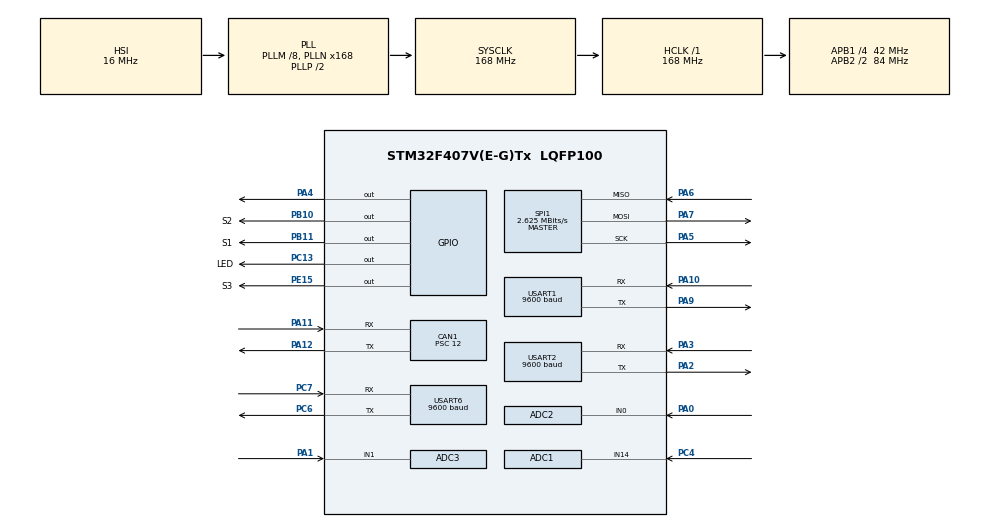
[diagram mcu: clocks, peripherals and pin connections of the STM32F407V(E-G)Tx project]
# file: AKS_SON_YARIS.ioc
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ADC1.Channel-0\#ChannelRegularConversion=ADC_CHANNEL_14
ADC1.ClockPrescaler=ADC_CLOCK_SYNC_PCLK_DIV4
ADC1.NbrOfConversionFlag=1
ADC1.Rank-0\#ChannelRegularConversion=1
ADC1.SamplingTime-0\#ChannelRegularConversion=ADC_SAMPLETIME_3CYCLES
ADC1.master=1
ADC2.Channel-0\#ChannelRegularConversion=ADC_CHANNEL_0
ADC2.ClockPrescaler=ADC_CLOCK_SYNC_PCLK_DIV4
ADC2.NbrOfConversionFlag=1
ADC2.Rank-0\#ChannelRegularConversion=1
ADC2.SamplingTime-0\#ChannelRegularConversion=ADC_SAMPLETIME_3CYCLES
ADC3.Channel-0\#ChannelRegularConversion=ADC_CHANNEL_1
ADC3.ClockPrescaler=ADC_CLOCK_SYNC_PCLK_DIV4
ADC3.NbrOfConversionFlag=1
ADC3.Rank-0\#ChannelRegularConversion=1
ADC3.SamplingTime-0\#ChannelRegularConversion=ADC_SAMPLETIME_3CYCLES
CAN1.BS1=CAN_BS1_3TQ
CAN1.BS2=CAN_BS2_3TQ
CAN1.CalculateBaudRate=500000
CAN1.CalculateTimeBit=2000
CAN1.CalculateTimeQuantum=285.7142857142857
CAN1.Prescaler=12
FATFS._MAX_SS=4096
FATFS._USE_LFN=1
Mcu.Family=STM32F4
Mcu.Name=STM32F407V(E-G)Tx
Mcu.Package=LQFP100
NVIC.CAN1_RX0_IRQn=true\:0\:0\:false\:false\:true\:true\:true\:true
NVIC.PriorityGroup=NVIC_PRIORITYGROUP_4
NVIC.USART6_IRQn=true\:0\:0\:false\:false\:true\:true\:true\:true
PA0-WKUP.Signal=ADCx_IN0
PA1.Signal=ADCx_IN1
PA10.Mode=Asynchronous
PA10.Signal=USART1_RX
PA11.Mode=CAN_Activate
PA11.Signal=CAN1_RX
PA12.Mode=CAN_Activate
PA12.Signal=CAN1_TX
PA13.Mode=Serial_Wire
PA13.Signal=SYS_JTMS-SWDIO
PA14.Mode=Serial_Wire
PA14.Signal=SYS_JTCK-SWCLK
PA2.Mode=Asynchronous
PA2.Signal=USART2_TX
PA3.Mode=Asynchronous
PA3.Signal=USART2_RX
PA4.Signal=GPIO_Output
PA5.Mode=Full_Duplex_Master
PA5.Signal=SPI1_SCK
PA6.Mode=Full_Duplex_Master
PA6.Signal=SPI1_MISO
PA7.Mode=Full_Duplex_Master
PA7.Signal=SPI1_MOSI
PA9.Mode=Asynchronous
PA9.Signal=USART1_TX
PB10.GPIO_Label=S2
PB10.Signal=GPIO_Output
PB11.GPIO_Label=S1
PB11.PinState=GPIO_PIN_SET
PB11.Signal=GPIO_Output
PC13-ANTI_TAMP.GPIO_Label=LED
PC13-ANTI_TAMP.Signal=GPIO_Output
PC4.Signal=ADCx_IN14
PC6.Mode=Asynchronous
PC6.Signal=USART6_TX
PC7.Mode=Asynchronous
PC7.Signal=USART6_RX
PE15.GPIO_Label=S3
PE15.Signal=GPIO_Output
PH0-OSC_IN.Mode=HSE-External-Oscillator
PH0-OSC_IN.Signal=RCC_OSC_IN
PH1-OSC_OUT.Mode=HSE-External-Oscillator
PH1-OSC_OUT.Signal=RCC_OSC_OUT
ProjectManager.HeapSize=0x200
ProjectManager.StackSize=0x400
ProjectManager.TargetToolchain=STM32CubeIDE
RCC.48MHZClocksFreq_Value=84000000
RCC.AHBFreq_Value=168000000
RCC.APB1CLKDivider=RCC_HCLK_DIV4
RCC.APB1Freq_Value=42000000
RCC.APB1TimFreq_Value=84000000
RCC.APB2CLKDivider=RCC_HCLK_DIV2
RCC.APB2Freq_Value=84000000
RCC.APB2TimFreq_Value=168000000
RCC.CortexFreq_Value=168000000
RCC.HCLKFreq_Value=168000000
RCC.HSE_VALUE=25000000
RCC.HSI_VALUE=16000000
RCC.LSE_VALUE=32768
RCC.PLLM=8
RCC.PLLN=168
RCC.SYSCLKFreq_VALUE=168000000
RCC.SYSCLKSource=RCC_SYSCLKSOURCE_PLLCLK
RCC.VCOOutputFreq_Value=336000000
SH.ADCx_IN0.0=ADC2_IN0,IN0
SH.ADCx_IN1.0=ADC3_IN1,IN1
SH.ADCx_IN14.0=ADC1_IN14,IN14
SPI1.BaudRatePrescaler=SPI_BAUDRATEPRESCALER_32
SPI1.CalculateBaudRate=2.625 MBits/s
SPI1.Direction=SPI_DIRECTION_2LINES
SPI1.Mode=SPI_MODE_MASTER
SPI1.VirtualType=VM_MASTER
USART1.BaudRate=9600
USART1.VirtualMode=VM_ASYNC
USART2.BaudRate=9600
USART2.VirtualMode=VM_ASYNC
USART6.BaudRate=9600
USART6.VirtualMode=VM_ASYNC
VP_FATFS_VS_Generic.Mode=User_defined
board=custom

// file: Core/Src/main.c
/* USER CODE BEGIN Header */
/**
  ******************************************************************************
  * @file           : main.c
  * @brief          : Main program body
  ******************************************************************************
  * @attention
  *
  * Copyright (c) 2024 STMicroelectronics.
  * All rights reserved.
  *
  * This software is licensed under terms that can be found in the LICENSE file
  * in the root directory of this software component.
  * If no LICENSE file comes with this software, it is provided AS-IS.
  *
  ******************************************************************************
  */
/* USER CODE END Header */
#include "main.h"
#include "fatfs.h"

/* USER CODE BEGIN Includes */
/* USER CODE BEGIN Includes */
#include "fatfs_sd.h"
#include <math.h>
#include "lwgps/lwgps.h"
#include<stdio.h>
#include<string.h>
#include<stdlib.h>
#define ADC_COUNTS  (1<<12)

/* USER CODE END Includes */

ADC_HandleTypeDef hadc1;
ADC_HandleTypeDef hadc2;
ADC_HandleTypeDef hadc3;

CAN_HandleTypeDef hcan1;

SPI_HandleTypeDef hspi1;

UART_HandleTypeDef huart1;
UART_HandleTypeDef huart2;
UART_HandleTypeDef huart6;

/* USER CODE BEGIN PV */
typedef struct fixedStransmission
{
	uint8_t ADDH;
	uint8_t ADDL;
	uint8_t CHAN;
	unsigned char message[];
}FixedStransmission;
FixedStransmission *init_stack(int m){
	FixedStransmission *st = (FixedStransmission *)malloc(sizeof(FixedStransmission)+m*sizeof(int));
    return st;
}
int sizedata;

uint32_t TxMailbox;

float dataReceive[2];
uint16_t adc_akim = 0;

int i;
uint16_t testTemp_analog;
float testTemp;
uint16_t motorTemp_analog;
float motorTemp;
int gps_satallite;
int gps_speed;
char datatxt[5];
int virgulOncesi;
int virgulSonrasi;
float iz_res = 0;
float ek_res = 0;
float sicakliklar[5];
uint8_t nextionEnd[3] = {0xFF,0xFF,0xFF};

char fileName[20];
FRESULT res;
FATFS fs;  // file system
FIL fil; // File
FILINFO fno;
FRESULT fresult;  // result
UINT br, bw;  // File read/write count

/**** capacity related *****/
FATFS *pfs;
DWORD fre_clust;
uint32_t total;
uint32_t free_space;
char buffer[128];
    double Irms;
    double ICAL;
    int sampleI;
    double filteredI;
    double offsetI;                          //Low-pass filter output
    double sqI,sumI;            //sq = squared, sum = Sum, inst = instantaneous                                     //Instantaneous voltage at start of sample window.

   // boolean lastVCross, checkVCross;

unsigned int inPinI = 1;
double ICAL = 111.1;
double offsetI = ADC_COUNTS>>1;

/* USER CODE END PV */

void SystemClock_Config(void);
static void MX_GPIO_Init(void);
static void MX_ADC1_Init(void);
static void MX_ADC2_Init(void);
static void MX_ADC3_Init(void);
static void MX_CAN1_Init(void);
static void MX_SPI1_Init(void);
static void MX_USART1_UART_Init(void);
static void MX_USART2_UART_Init(void);
static void MX_USART6_UART_Init(void);
/* USER CODE BEGIN PFP */

void getCAN1(CAN_RxHeaderTypeDef *RxHeader1, float *dataReceive);
void sendFixedMessage( uint8_t ADDH,uint8_t ADDL, uint8_t CHAN, const void *message, const uint8_t size);
double Thermistor(uint16_t analogValue);
void sendNextion();
uint8_t def_msb(float value);
uint8_t def_lsb(float value);
void txtNextion(char *location, float data);
void numNextion(char *location, int data);
void picNextion(char *location, int data);
void ppicNextion(char *location, int data);
void progbarNextion(char *location, int data);
void inttxtNextion(char *location, int data);
double calcIrms(unsigned int Number_of_Samples);
void create_new_file();

/* USER CODE END PFP */

/* USER CODE BEGIN 0 */
struct carData{
	  float voltage1;
	  float voltage2;
	  float voltage3;
	  float voltage4;
	  float voltage5;
	  float voltage6;
	  float voltage7;
	  float voltage8;
	  float voltage9;
	  float voltage10;
	  float voltage11;
	  float voltage12;
	  float voltage13;
	  float voltage14;
	  float voltage15;
	  float voltage16;
	  float voltage17;
	  float voltage18;
	  float voltage19;
	  float voltage20;
	  float totalVoltage;
	  float batteryTemp1;
	  float batteryTemp2;
	  float batteryTemp3;
	  float batteryTemp4;
	  float testTemp;
	  float motorTemp;
	  float speed;
	  float current;
	  float remainEnergy;
}data1;

//CAN_RxHeaderTypeDef RxHeader1;

lwgps_t gps;
uint8_t rxBuffer[128];
uint8_t rxIndex = 0;
uint8_t rxData = 0;
void HAL_CAN_RxFifo0MsgPendingCallback(CAN_HandleTypeDef *hcan)
{
    CAN_RxHeaderTypeDef RxHeader1;
    float dataReceive[2];
    HAL_GPIO_WritePin(LED_GPIO_Port, LED_Pin, 1);

    if (HAL_CAN_GetRxMessage(hcan, CAN_RX_FIFO0, &RxHeader1, dataReceive) == HAL_OK)
    {
        getCAN1(&RxHeader1, dataReceive);
    }
}
void HAL_UART_RxCpltCallback(UART_HandleTypeDef *huart){
	if(huart == &huart6){
		if(rxData!= '\n' && rxIndex < sizeof(rxBuffer)){
			rxBuffer[rxIndex++] = rxData;

		}
		else{
			lwgps_process(&gps, rxBuffer, rxIndex+1);
			rxIndex = 0;
			rxData = 0;
		}
	}
	HAL_UART_Receive_IT(&huart6, &rxData, 1);
}

/* USER CODE END 0 */

int main(void)
{

  /* MCU Configuration--------------------------------------------------------*/

  /* Reset of all peripherals, Initializes the Flash interface and the Systick. */
  HAL_Init();

  /* Configure the system clock */
  SystemClock_Config();

  /* Initialize all configured peripherals */
  MX_GPIO_Init();
  MX_ADC1_Init();
  MX_ADC2_Init();
  MX_ADC3_Init();
  MX_CAN1_Init();
  MX_SPI1_Init();
  MX_USART1_UART_Init();
  MX_USART2_UART_Init();
  MX_USART6_UART_Init();
  MX_FATFS_Init();
  /* USER CODE BEGIN 2 */
  create_new_file();
  HAL_CAN_Start(&hcan1);
  HAL_CAN_ActivateNotification(&hcan1, CAN_IT_RX_FIFO0_MSG_PENDING);
  lwgps_init(&gps);
  HAL_UART_Receive_IT(&huart6, &rxData, 1);
  /* USER CODE END 2 */

  /* Infinite loop */
  while (1)
  {

    /* USER CODE BEGIN 3 */

	  HAL_ADC_Start(&hadc2);
	  testTemp_analog = HAL_ADC_GetValue(&hadc2);
	  data1.testTemp = Thermistor(testTemp_analog);
	  HAL_ADC_Stop(&hadc2);

	  HAL_ADC_Start(&hadc3);
	  motorTemp_analog = HAL_ADC_GetValue(&hadc3);
	  data1.motorTemp = Thermistor(motorTemp_analog);
	  HAL_ADC_Stop(&hadc3);

	  //---------------------- SLAVE 1 && S------------------------
	  HAL_GPIO_WritePin(LED_GPIO_Port, LED_Pin, 0);
	  HAL_Delay(10);

	  data1.totalVoltage = data1.voltage1 + data1.voltage2 + data1.voltage3 +data1.voltage4 + data1.voltage5 + data1.voltage6 + data1.voltage7 + data1.voltage8 + data1.voltage9 + data1.voltage10 + data1.voltage11 + data1.voltage12 + data1.voltage13 + data1.voltage14 + data1.voltage15 + data1.voltage16 + data1.voltage17 + data1.voltage18 + data1.voltage19 + data1.voltage20;
	  data1.current =calcIrms(1480)*10;;
	  data1.remainEnergy  = (data1.totalVoltage - 64.00)*100/20;
	  data1.speed = gps.speed;
	  gps_satallite = gps.sats_in_use;
/*
	  //bubble sort yapılacak diziye 5 batarya sıcaklığı aktarılıyor
	   sicakliklar[0] = data1.batteryTemp1;
	   sicakliklar[1] = data1.batteryTemp2;
	   sicakliklar[2] = data1.batteryTemp3;
	   sicakliklar[3] = data1.batteryTemp4;
	   sicakliklar[4] = data1.testTemp;

	   //sıcaklık değerlerini küçükten büyüğe sıralamak için bubble sort
	   for (int l = 0; l < 4; l++) {

	     for (int k = 0; k < 4; k++) {

	       if (sicakliklar[k] > sicakliklar[k + 1]) {

	         float tmp = sicakliklar[k];
	         sicakliklar[k] = sicakliklar[k + 1];
	         sicakliklar[k + 1] = tmp;
	       }
	     }
	   }
	   //en büyük sıcaklık değeri deger26x e eşit olacak şekilde eşitleme yapılıyor
	   data1.batteryTemp1 = sicakliklar[0];
	   data1.batteryTemp2 = sicakliklar[1];
	   data1.batteryTemp3 = sicakliklar[2];
	   data1.batteryTemp4 = sicakliklar[3];
	   data1.testTemp = sicakliklar[4];
*/
	  uint32_t a = HAL_GetTick();;

	     HAL_Delay(50);

		 f_mount(&fs, "", 0);
		 f_open(&fil, fileName, FA_OPEN_ALWAYS | FA_WRITE | FA_READ);
		 f_lseek(&fil,f_size(&fil));
		 //"zaman_ms; hiz_km/h; sicaklik_C; toplamVoltaj_V; kalanEnerji_%\n"
		 snprintf(buffer, sizeof(buffer), "%-8lu; %-8d; %-10.2f; %-14.2f; %-13d\n",a,(int)data1.speed,data1.testTemp, data1.totalVoltage,(int)data1.remainEnergy);

	     fresult = f_puts(buffer,&fil);
	     f_close(&fil);

	  if(data1.testTemp>55){
		  HAL_GPIO_WritePin(S3_GPIO_Port, S3_Pin, 1);

	  }
	  else{
		  HAL_GPIO_WritePin(S3_GPIO_Port, S3_Pin, 0);
	  }

	  if(data1.testTemp>70){
		  HAL_GPIO_WritePin(S2_GPIO_Port, S2_Pin, 1);
		  HAL_GPIO_WritePin(S1_GPIO_Port, S1_Pin, 0);
	  }
	  else{
		  HAL_GPIO_WritePin(S2_GPIO_Port, S2_Pin, 0);
		  HAL_GPIO_WritePin(S1_GPIO_Port, S1_Pin, 1);
	  }

	  sizedata = sizeof(data1);
	  sendFixedMessage(0, 2, 25, &data1, sizedata);
	  sendNextion();

  }
  /* USER CODE END 3 */
}

void SystemClock_Config(void)
{
  RCC_OscInitTypeDef RCC_OscInitStruct = {0};
  RCC_ClkInitTypeDef RCC_ClkInitStruct = {0};

  /** Configure the main internal regulator output voltage
  */
  __HAL_RCC_PWR_CLK_ENABLE();
  __HAL_PWR_VOLTAGESCALING_CONFIG(PWR_REGULATOR_VOLTAGE_SCALE1);

  /** Initializes the RCC Oscillators according to the specified parameters
  * in the RCC_OscInitTypeDef structure.
  */
  RCC_OscInitStruct.OscillatorType = RCC_OSCILLATORTYPE_HSI;
  RCC_OscInitStruct.HSIState = RCC_HSI_ON;
  RCC_OscInitStruct.HSICalibrationValue = RCC_HSICALIBRATION_DEFAULT;
  RCC_OscInitStruct.PLL.PLLState = RCC_PLL_ON;
  RCC_OscInitStruct.PLL.PLLSource = RCC_PLLSOURCE_HSI;
  RCC_OscInitStruct.PLL.PLLM = 8;
  RCC_OscInitStruct.PLL.PLLN = 168;
  RCC_OscInitStruct.PLL.PLLP = RCC_PLLP_DIV2;
  RCC_OscInitStruct.PLL.PLLQ = 4;
  if (HAL_RCC_OscConfig(&RCC_OscInitStruct) != HAL_OK)
  {
    Error_Handler();
  }

  /** Initializes the CPU, AHB and APB buses clocks
  */
  RCC_ClkInitStruct.ClockType = RCC_CLOCKTYPE_HCLK|RCC_CLOCKTYPE_SYSCLK
                              |RCC_CLOCKTYPE_PCLK1|RCC_CLOCKTYPE_PCLK2;
  RCC_ClkInitStruct.SYSCLKSource = RCC_SYSCLKSOURCE_PLLCLK;
  RCC_ClkInitStruct.AHBCLKDivider = RCC_SYSCLK_DIV1;
  RCC_ClkInitStruct.APB1CLKDivider = RCC_HCLK_DIV4;
  RCC_ClkInitStruct.APB2CLKDivider = RCC_HCLK_DIV2;

  if (HAL_RCC_ClockConfig(&RCC_ClkInitStruct, FLASH_LATENCY_5) != HAL_OK)
  {
    Error_Handler();
  }
}

static void MX_ADC1_Init(void)
{

  ADC_ChannelConfTypeDef sConfig = {0};

  /** Configure the global features of the ADC (Clock, Resolution, Data Alignment and number of conversion)
  */
  hadc1.Instance = ADC1;
  hadc1.Init.ClockPrescaler = ADC_CLOCK_SYNC_PCLK_DIV4;
  hadc1.Init.Resolution = ADC_RESOLUTION_12B;
  hadc1.Init.ScanConvMode = DISABLE;
  hadc1.Init.ContinuousConvMode = DISABLE;
  hadc1.Init.DiscontinuousConvMode = DISABLE;
  hadc1.Init.ExternalTrigConvEdge = ADC_EXTERNALTRIGCONVEDGE_NONE;
  hadc1.Init.ExternalTrigConv = ADC_SOFTWARE_START;
  hadc1.Init.DataAlign = ADC_DATAALIGN_RIGHT;
  hadc1.Init.NbrOfConversion = 1;
  hadc1.Init.DMAContinuousRequests = DISABLE;
  hadc1.Init.EOCSelection = ADC_EOC_SINGLE_CONV;
  if (HAL_ADC_Init(&hadc1) != HAL_OK)
  {
    Error_Handler();
  }

  /** Configure for the selected ADC regular channel its corresponding rank in the sequencer and its sample time.
  */
  sConfig.Channel = ADC_CHANNEL_14;
  sConfig.Rank = 1;
  sConfig.SamplingTime = ADC_SAMPLETIME_3CYCLES;
  if (HAL_ADC_ConfigChannel(&hadc1, &sConfig) != HAL_OK)
  {
    Error_Handler();
  }

}

static void MX_ADC2_Init(void)
{

  ADC_ChannelConfTypeDef sConfig = {0};

  /** Configure the global features of the ADC (Clock, Resolution, Data Alignment and number of conversion)
  */
  hadc2.Instance = ADC2;
  hadc2.Init.ClockPrescaler = ADC_CLOCK_SYNC_PCLK_DIV4;
  hadc2.Init.Resolution = ADC_RESOLUTION_12B;
  hadc2.Init.ScanConvMode = DISABLE;
  hadc2.Init.ContinuousConvMode = DISABLE;
  hadc2.Init.DiscontinuousConvMode = DISABLE;
  hadc2.Init.ExternalTrigConvEdge = ADC_EXTERNALTRIGCONVEDGE_NONE;
  hadc2.Init.ExternalTrigConv = ADC_SOFTWARE_START;
  hadc2.Init.DataAlign = ADC_DATAALIGN_RIGHT;
  hadc2.Init.NbrOfConversion = 1;
  hadc2.Init.DMAContinuousRequests = DISABLE;
  hadc2.Init.EOCSelection = ADC_EOC_SINGLE_CONV;
  if (HAL_ADC_Init(&hadc2) != HAL_OK)
  {
    Error_Handler();
  }

  /** Configure for the selected ADC regular channel its corresponding rank in the sequencer and its sample time.
  */
  sConfig.Channel = ADC_CHANNEL_0;
  sConfig.Rank = 1;
  sConfig.SamplingTime = ADC_SAMPLETIME_3CYCLES;
  if (HAL_ADC_ConfigChannel(&hadc2, &sConfig) != HAL_OK)
  {
    Error_Handler();
  }

}

static void MX_ADC3_Init(void)
{

  ADC_ChannelConfTypeDef sConfig = {0};

  /** Configure the global features of the ADC (Clock, Resolution, Data Alignment and number of conversion)
  */
  hadc3.Instance = ADC3;
  hadc3.Init.ClockPrescaler = ADC_CLOCK_SYNC_PCLK_DIV4;
  hadc3.Init.Resolution = ADC_RESOLUTION_12B;
  hadc3.Init.ScanConvMode = DISABLE;
  hadc3.Init.ContinuousConvMode = DISABLE;
  hadc3.Init.DiscontinuousConvMode = DISABLE;
  hadc3.Init.ExternalTrigConvEdge = ADC_EXTERNALTRIGCONVEDGE_NONE;
  hadc3.Init.ExternalTrigConv = ADC_SOFTWARE_START;
  hadc3.Init.DataAlign = ADC_DATAALIGN_RIGHT;
  hadc3.Init.NbrOfConversion = 1;
  hadc3.Init.DMAContinuousRequests = DISABLE;
  hadc3.Init.EOCSelection = ADC_EOC_SINGLE_CONV;
  if (HAL_ADC_Init(&hadc3) != HAL_OK)
  {
    Error_Handler();
  }

  /** Configure for the selected ADC regular channel its corresponding rank in the sequencer and its sample time.
  */
  sConfig.Channel = ADC_CHANNEL_1;
  sConfig.Rank = 1;
  sConfig.SamplingTime = ADC_SAMPLETIME_3CYCLES;
  if (HAL_ADC_ConfigChannel(&hadc3, &sConfig) != HAL_OK)
  {
    Error_Handler();
  }

}

static void MX_CAN1_Init(void)
{

  hcan1.Instance = CAN1;
  hcan1.Init.Prescaler = 12;
  hcan1.Init.Mode = CAN_MODE_NORMAL;
  hcan1.Init.SyncJumpWidth = CAN_SJW_1TQ;
  hcan1.Init.TimeSeg1 = CAN_BS1_3TQ;
  hcan1.Init.TimeSeg2 = CAN_BS2_3TQ;
  hcan1.Init.TimeTriggeredMode = DISABLE;
  hcan1.Init.AutoBusOff = DISABLE;
  hcan1.Init.AutoWakeUp = DISABLE;
  hcan1.Init.AutoRetransmission = DISABLE;
  hcan1.Init.ReceiveFifoLocked = DISABLE;
  hcan1.Init.TransmitFifoPriority = DISABLE;
  if (HAL_CAN_Init(&hcan1) != HAL_OK)
  {
    Error_Handler();
  }
  /* USER CODE BEGIN CAN1_Init 2 */
  CAN_FilterTypeDef canfilterconfig;

  canfilterconfig.FilterActivation = CAN_FILTER_ENABLE;
  canfilterconfig.FilterBank = 10;  // which filter bank to use from the assigned ones
  canfilterconfig.FilterFIFOAssignment = CAN_FILTER_FIFO0;
  canfilterconfig.FilterIdHigh = 0x000<<5;
  canfilterconfig.FilterIdLow = 0;
  canfilterconfig.FilterMaskIdHigh = 0x000<<5;
  canfilterconfig.FilterMaskIdLow = 0x0000;
  canfilterconfig.FilterMode = CAN_FILTERMODE_IDMASK;
  canfilterconfig.FilterScale = CAN_FILTERSCALE_32BIT;
  canfilterconfig.SlaveStartFilterBank = 14;  // how many filters to assign to the CAN1 (master can)

  HAL_CAN_ConfigFilter(&hcan1, &canfilterconfig);

  /* USER CODE END CAN1_Init 2 */

}

static void MX_SPI1_Init(void)
{

  /* SPI1 parameter configuration*/
  hspi1.Instance = SPI1;
  hspi1.Init.Mode = SPI_MODE_MASTER;
  hspi1.Init.Direction = SPI_DIRECTION_2LINES;
  hspi1.Init.DataSize = SPI_DATASIZE_8BIT;
  hspi1.Init.CLKPolarity = SPI_POLARITY_LOW;
  hspi1.Init.CLKPhase = SPI_PHASE_1EDGE;
  hspi1.Init.NSS = SPI_NSS_SOFT;
  hspi1.Init.BaudRatePrescaler = SPI_BAUDRATEPRESCALER_32;
  hspi1.Init.FirstBit = SPI_FIRSTBIT_MSB;
  hspi1.Init.TIMode = SPI_TIMODE_DISABLE;
  hspi1.Init.CRCCalculation = SPI_CRCCALCULATION_DISABLE;
  hspi1.Init.CRCPolynomial = 10;
  if (HAL_SPI_Init(&hspi1) != HAL_OK)
  {
    Error_Handler();
  }

}

static void MX_USART1_UART_Init(void)
{

  huart1.Instance = USART1;
  huart1.Init.BaudRate = 9600;
  huart1.Init.WordLength = UART_WORDLENGTH_8B;
  huart1.Init.StopBits = UART_STOPBITS_1;
  huart1.Init.Parity = UART_PARITY_NONE;
  huart1.Init.Mode = UART_MODE_TX_RX;
  huart1.Init.HwFlowCtl = UART_HWCONTROL_NONE;
  huart1.Init.OverSampling = UART_OVERSAMPLING_16;
  if (HAL_UART_Init(&huart1) != HAL_OK)
  {
    Error_Handler();
  }

}

static void MX_USART2_UART_Init(void)
{

  huart2.Instance = USART2;
  huart2.Init.BaudRate = 9600;
  huart2.Init.WordLength = UART_WORDLENGTH_8B;
  huart2.Init.StopBits = UART_STOPBITS_1;
  huart2.Init.Parity = UART_PARITY_NONE;
  huart2.Init.Mode = UART_MODE_TX_RX;
  huart2.Init.HwFlowCtl = UART_HWCONTROL_NONE;
  huart2.Init.OverSampling = UART_OVERSAMPLING_16;
  if (HAL_UART_Init(&huart2) != HAL_OK)
  {
    Error_Handler();
  }

}

static void MX_USART6_UART_Init(void)
{

  huart6.Instance = USART6;
  huart6.Init.BaudRate = 9600;
  huart6.Init.WordLength = UART_WORDLENGTH_8B;
  huart6.Init.StopBits = UART_STOPBITS_1;
  huart6.Init.Parity = UART_PARITY_NONE;
  huart6.Init.Mode = UART_MODE_TX_RX;
  huart6.Init.HwFlowCtl = UART_HWCONTROL_NONE;
  huart6.Init.OverSampling = UART_OVERSAMPLING_16;
  if (HAL_UART_Init(&huart6) != HAL_OK)
  {
    Error_Handler();
  }

}

static void MX_GPIO_Init(void)
{
  GPIO_InitTypeDef GPIO_InitStruct = {0};

  /* GPIO Ports Clock Enable */
  __HAL_RCC_GPIOC_CLK_ENABLE();
  __HAL_RCC_GPIOH_CLK_ENABLE();
  __HAL_RCC_GPIOA_CLK_ENABLE();
  __HAL_RCC_GPIOE_CLK_ENABLE();
  __HAL_RCC_GPIOB_CLK_ENABLE();

  /*Configure GPIO pin Output Level */
  HAL_GPIO_WritePin(LED_GPIO_Port, LED_Pin, GPIO_PIN_RESET);

  /*Configure GPIO pin Output Level */
  HAL_GPIO_WritePin(GPIOA, GPIO_PIN_4, GPIO_PIN_RESET);

  /*Configure GPIO pin Output Level */
  HAL_GPIO_WritePin(S3_GPIO_Port, S3_Pin, GPIO_PIN_RESET);

  /*Configure GPIO pin Output Level */
  HAL_GPIO_WritePin(S2_GPIO_Port, S2_Pin, GPIO_PIN_RESET);

  /*Configure GPIO pin Output Level */
  HAL_GPIO_WritePin(S1_GPIO_Port, S1_Pin, GPIO_PIN_SET);

  /*Configure GPIO pin : LED_Pin */
  GPIO_InitStruct.Pin = LED_Pin;
  GPIO_InitStruct.Mode = GPIO_MODE_OUTPUT_PP;
  GPIO_InitStruct.Pull = GPIO_NOPULL;
  GPIO_InitStruct.Speed = GPIO_SPEED_FREQ_LOW;
  HAL_GPIO_Init(LED_GPIO_Port, &GPIO_InitStruct);

  /*Configure GPIO pin : PA4 */
  GPIO_InitStruct.Pin = GPIO_PIN_4;
  GPIO_InitStruct.Mode = GPIO_MODE_OUTPUT_PP;
  GPIO_InitStruct.Pull = GPIO_NOPULL;
  GPIO_InitStruct.Speed = GPIO_SPEED_FREQ_LOW;
  HAL_GPIO_Init(GPIOA, &GPIO_InitStruct);

  /*Configure GPIO pin : S3_Pin */
  GPIO_InitStruct.Pin = S3_Pin;
  GPIO_InitStruct.Mode = GPIO_MODE_OUTPUT_PP;
  GPIO_InitStruct.Pull = GPIO_NOPULL;
  GPIO_InitStruct.Speed = GPIO_SPEED_FREQ_LOW;
  HAL_GPIO_Init(S3_GPIO_Port, &GPIO_InitStruct);

  /*Configure GPIO pins : S2_Pin S1_Pin */
  GPIO_InitStruct.Pin = S2_Pin|S1_Pin;
  GPIO_InitStruct.Mode = GPIO_MODE_OUTPUT_PP;
  GPIO_InitStruct.Pull = GPIO_NOPULL;
  GPIO_InitStruct.Speed = GPIO_SPEED_FREQ_LOW;
  HAL_GPIO_Init(GPIOB, &GPIO_InitStruct);

}

/* USER CODE BEGIN 4 */
void getCAN1(CAN_RxHeaderTypeDef *RxHeader1, float *dataReceive) {

	//HAL_CAN_GetRxMessage(&hcan1, CAN_RX_FIFO0, &RxHeader1, dataReceive);
	switch (RxHeader1->ExtId) {
		case 0x0FFFFFF0:
			data1.voltage1 = dataReceive[0];
			data1.voltage2 = dataReceive[1];
			break;
		case 0x0FFFFFF1:
			data1.voltage3 = dataReceive[0];
			data1.voltage4 = dataReceive[1];
			break;
		case 0x0FFFFFF2:
			data1.voltage5 = dataReceive[0];
			data1.voltage6 = dataReceive[1];
			break;
		case 0x0FFFFFF3:
			data1.voltage7 = dataReceive[0];
			data1.voltage8 = dataReceive[1];
			break;
		case 0x0FFFFFF4:
			data1.voltage9 = dataReceive[0];
			data1.voltage10 = dataReceive[1];
			break;
		case 0x0FFFFFF5:
			data1.batteryTemp1 = dataReceive[0];
			data1.batteryTemp2 = dataReceive[1];
			break;
		case 0x0FFFFFF6:
			iz_res = dataReceive[0];
			ek_res = dataReceive[1];
			break;
		case 0x0FFFFFE0:
			data1.voltage11 = dataReceive[0];
			data1.voltage12 = dataReceive[1];
			break;
		case 0x0FFFFFE1:
			data1.voltage13 = dataReceive[0];
			data1.voltage14 = dataReceive[1];
			break;
		case 0x0FFFFFE2:
			data1.voltage15 = dataReceive[0];
			data1.voltage16 = dataReceive[1];
			break;
		case 0x0FFFFFE3:
			data1.voltage17 = dataReceive[0];
			data1.voltage18 = dataReceive[1];
			break;
		case 0x0FFFFFE4:
			data1.voltage19 = dataReceive[0];
			data1.voltage20 = dataReceive[1];
			break;
		case 0x0FFFFFE5:
			data1.batteryTemp3 = dataReceive[0];
			data1.batteryTemp4 = dataReceive[1];
			break;
		default:
			// Handle unexpected ID
			break;
		}

	}

double Thermistor(uint16_t analogValue){
    // Sıfıra bölme hatasını önlemek için kontrol ekleyin
    if (analogValue == 0) {
        return -273.15; // Hata durumunda düşük bir sıcaklık döndürün
    }

    // ADC çözünürlüğü ve direnç hesaplaması
    double resistance = ((40950000.0 / analogValue) - 10000);
    double temperature;

    // Direnç logaritmasını alın
    temperature = log(resistance);

    // Sıcaklık hesaplaması (Steinhart-Hart denklemi)
    temperature = 1 / (0.001129148 + (0.000234125 + (0.0000000876741 * temperature * temperature)) * temperature);
    temperature = temperature - 273.15;

    return temperature;
}

	void sendFixedMessage( uint8_t ADDH,uint8_t ADDL, uint8_t CHAN, const void *message, const uint8_t size){

		FixedStransmission *fixedStransmission = init_stack(size);

		fixedStransmission->ADDH = ADDH;
		fixedStransmission->ADDL = ADDL;
		fixedStransmission->CHAN = CHAN;

		memcpy(fixedStransmission->message,(unsigned char*)message,size);

		HAL_UART_Transmit(&huart1, (uint8_t *)fixedStransmission, size+3, 1000);
		HAL_Delay(200);

		free(fixedStransmission);
	}
	void sendNextion(){
		 //HAL_Delay(10);
		 picNextion("p1",(int)data1.speed);
		 numNextion("n0",(int)data1.speed);
		 txtNextion("t1",data1.batteryTemp1);
		 txtNextion("t2",data1.batteryTemp2);
		 txtNextion("t3",data1.batteryTemp3);
		 txtNextion("t4",data1.batteryTemp4);
		 txtNextion("t5",data1.testTemp);
		 if (data1.batteryTemp1 >= 50 || data1.batteryTemp2 >= 50 || data1.batteryTemp3 >= 50 || data1.batteryTemp4 >= 50 || data1.testTemp >= 50) {
		     int alert_pic = 68;
		     picNextion("p2",alert_pic);
		   }
		 else {
		     int alert_pic = 67;
		     picNextion("p2",alert_pic);
		   }
		 txtNextion("t6",data1.motorTemp);
		 txtNextion("t7",data1.voltage1);
		 txtNextion("t8",data1.voltage2);
		 txtNextion("t9",data1.voltage3);
		 txtNextion("t10",data1.voltage4);
		 txtNextion("t11",data1.voltage5);
		 txtNextion("t12",data1.voltage6);
		 txtNextion("t13",data1.voltage7);
		 txtNextion("t14",data1.voltage8);
		 txtNextion("t15",data1.voltage9);
		 txtNextion("t16",data1.voltage10);
		 txtNextion("t17",data1.voltage11);
		 txtNextion("t18",data1.voltage12);
		 txtNextion("t19",data1.voltage13);
		 txtNextion("t20",data1.voltage14);
		 txtNextion("t21",data1.voltage15);
		 txtNextion("t22",data1.voltage16);
		 txtNextion("t23",data1.voltage17);
		 txtNextion("t24",data1.voltage18);
		 txtNextion("t25",data1.voltage19);
		 txtNextion("t26",data1.voltage20);
		 txtNextion("t27",data1.totalVoltage);
		 txtNextion("t28",data1.current);
		 inttxtNextion("t29",(int)data1.remainEnergy);
		 if (data1.remainEnergy <= 100 && data1.remainEnergy > 60) {
		     int ppic = 66;
		     ppicNextion("j0", ppic);
		   }
		 else if (data1.remainEnergy <= 60 && data1.remainEnergy > 40) {
		     int ppic = 65;
		     ppicNextion("j0", ppic);
		   }
		 else if (data1.remainEnergy <= 40 && data1.remainEnergy > 0) {
		     int ppic = 64;
		     ppicNextion("j0", ppic);
		   }
		 progbarNextion("j0", (int)data1.remainEnergy);
		 inttxtNextion("t30", (int)gps.sats_in_use);
		 if(fresult>0){
			 picNextion("p3",70); // SD kart
		 }
		 else{
			 picNextion("p3",69); // SD kart
		 }

		 txtNextion("t31",iz_res);
		 txtNextion("t32",ek_res);
		 //HAL_Delay(10);
		 //----------------------------NextionEnd---------------------------------

		}
		uint8_t def_msb(float value){
			virgulOncesi = (int)value; // Virgül öncesi kısmı almak için sayının tam kısmını elde ediyoruz
			return virgulOncesi;
		}
		uint8_t def_lsb(float value){
			virgulOncesi = (int)value; // Virgül öncesi kısmı almak için sayının tam kısmını elde ediyoruz
			virgulSonrasi = (int)((value - virgulOncesi) * 100); // Virgül sonrası kısmını elde etmek için float değerinden virgül öncesi kısmını çıkarıp 1000 ile çarpmak yeterlidir
			return virgulSonrasi;
		}

		void txtNextion(char *location, float data){

			char text[50];

			virgulOncesi = def_msb(data); // Virgül öncesi kısmı almak için sayının tam kısmını elde ediyoruz
			virgulSonrasi = def_lsb(data);
			if(virgulSonrasi <10){
				sprintf(datatxt,"%d.0%d",virgulOncesi,virgulSonrasi);
			}
			else{
				sprintf(datatxt,"%d.%d",virgulOncesi,virgulSonrasi);
			}

			int length = sprintf(text,"%s.txt=\"%s\"",location, datatxt);
			HAL_UART_Transmit(&huart2, (uint8_t *)text, length, 50);
			HAL_UART_Transmit(&huart2, (uint8_t *)nextionEnd, 3, 50);

			//memset(text, '\0', sizeof(text));
		}

		/*
	void txtNextion(char *location, float data){

		char text[50];
		char sdata[8];
		sprintf(sdata,"%2.2f",data);
		sprintf(text,"%s.txt=\"%s\"",location,sdata);
		HAL_UART_Transmit(&huart2, (uint8_t *)text, sizeof(text), 1000);
		HAL_UART_Transmit(&huart2, (uint8_t *)nextionEnd, 3, 100);
		//memset(text, '\0', sizeof(text));
	}
	*/
		void numNextion(char *location, int data){

			char text[50];

			int length = sprintf(text,"%s.val=%d",location,data);
			HAL_UART_Transmit(&huart2, (uint8_t *)text, length, 100);
			HAL_UART_Transmit(&huart2, (uint8_t *)nextionEnd, 3, 100);
			//memset(text, '\0', sizeof(text));
		}
		void picNextion(char *location, int data){
			char text[50];

			int length = sprintf(text,"%s.pic=%d",location,data);
			HAL_UART_Transmit(&huart2, (uint8_t *)text, length, 100);
			HAL_UART_Transmit(&huart2, (uint8_t *)nextionEnd, 3, 100);
			//memset(text, '\0', sizeof(text));

		}
		void ppicNextion(char *location, int data){
			char text[50];

			int length = sprintf(text,"%s.ppic=%d",location,data);
			HAL_UART_Transmit(&huart2, (uint8_t *)text, length, 100);
			HAL_UART_Transmit(&huart2, (uint8_t *)nextionEnd, 3, 100);
			//memset(text, '\0', sizeof(text));
		}
		void progbarNextion(char *location, int data){
			char text[50];

			int length = sprintf(text,"%s.val=%d",location,data);
			HAL_UART_Transmit(&huart2, (uint8_t *)text, length, 100);
			HAL_UART_Transmit(&huart2, (uint8_t *)nextionEnd, 3, 100);
			//memset(text, '\0', sizeof(text));
		}
		void inttxtNextion(char *location, int data){

			char text[50];
			//sprintf(sdata,"%f",data);
			int length = sprintf(text,"%s.txt=\"%d\"",location,data);
			HAL_UART_Transmit(&huart2, (uint8_t *)text, length, 100);
			HAL_UART_Transmit(&huart2, (uint8_t *)nextionEnd, 3, 100);
			//memset(text, '\0', sizeof(text));
		}

double calcIrms(unsigned int Number_of_Samples){
   int SupplyVoltage = 3.3;

  for (unsigned int n = 0; n < Number_of_Samples; n++)
  {
	  HAL_ADC_Start(&hadc1);
	  HAL_ADC_PollForConversion(&hadc1, 1000);
  	  sampleI = HAL_ADC_GetValue(&hadc1);
  	  HAL_ADC_Stop(&hadc1);
    // Digital low pass filter extracts the 2.5 V or 1.65 V dc offset,
    //  then subtract this - signal is now centered on 0 counts.
     offsetI = (offsetI + (sampleI-offsetI)/4095);
     filteredI = sampleI - offsetI;

    // Root-mean-square method current
    // 1) square current values
     sqI = filteredI * filteredI;
    // 2) sum
     sumI = sumI + sqI;
  }

   double I_RATIO = ICAL *((SupplyVoltage/1000.0) / (ADC_COUNTS));
   Irms = I_RATIO * sqrt(sumI / Number_of_Samples);

  //Reset accumulators
  sumI = 0;
  //--------------------------------------------------------------------------------------

  return Irms;
}
void create_new_file() {
    FRESULT res;
    int s = 0;
    FILINFO fno;
    int is_file_exist = 1;

    f_mount(&fs, "", 0);

    while (is_file_exist) {
        s++;
        if (snprintf(fileName, sizeof(fileName), "values%d.txt", s) >= sizeof(fileName)) {
            // Dosya adı çok uzun, hata işle
            return; // Hata durumunda fonksiyondan çık
        }

        // Dosyanın var olup olmadığını kontrol et
        res = f_stat(fileName, &fno);
        if (res == FR_OK) {
            is_file_exist = 1; // Dosya mevcut
        } else if (res == FR_NO_FILE) {
            is_file_exist = 0; // Dosya mevcut değil
        } else {
            // Diğer hata durumları
            // Hata işleme kodları buraya eklenebilir
            return; // Hata durumunda fonksiyondan çık
        }
    }

    if (!is_file_exist) {
        // Yeni dosya oluşturma işlemi burada yapılabilir
        res = f_open(&fil, fileName, FA_CREATE_NEW | FA_WRITE);
        if (res == FR_OK) {
            // Dosya başarılı bir şekilde oluşturuldu ve açıldı
            const char* header = "zaman_ms; hiz_km/h; sicaklik_C; toplamVoltaj_V; kalanEnerji_%\n";
            if (f_puts(header, &fil) < 0) {
                // Başlık yazma başarısız, hata işle
                f_close(&fil);
                return; // Hata durumunda fonksiyondan çık
            }
            // Dosyayı kapatma
            f_close(&fil);
        } else {
            // Dosya oluşturma/açma başarısız oldu
            // Hata işleme kodları buraya eklenebilir
        }
    }
}

/* USER CODE END 4 */

void Error_Handler(void)
{
  __disable_irq();
  while (1)
  {
  }
}
